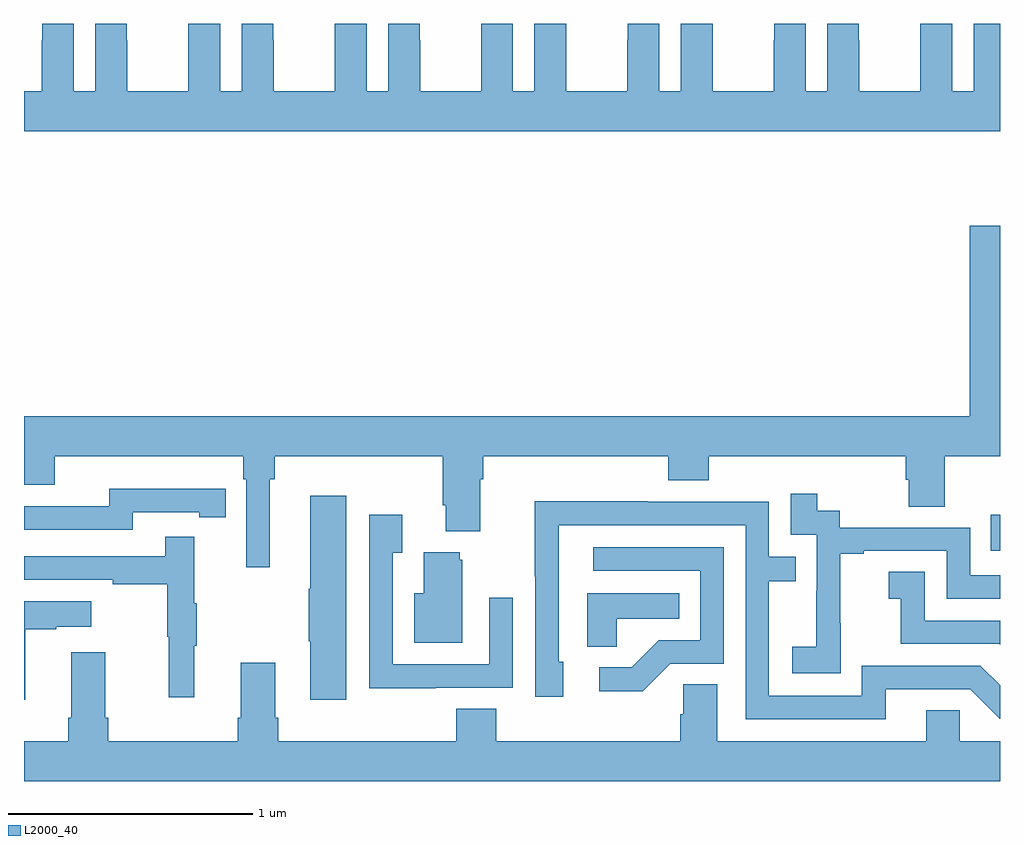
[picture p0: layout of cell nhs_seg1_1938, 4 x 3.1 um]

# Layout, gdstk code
import gdstk
lib = gdstk.Library(unit=1e-6, precision=1e-09)
def R(c, l, rs):  # rectangles x0, y0, x1, y1
    for r in rs: c.add(gdstk.rectangle(r[:2], r[2:], *l))
def P(c, l, *ps):  # polygons
    for p in ps: c.add(gdstk.Polygon(p, *l))
L2000_40 = (2000, 40)

nhs_seg1_1938 = lib.new_cell('nhs_seg1_1938')
R(nhs_seg1_1938, L2000_40, [(220.963,522.039,221,522.187)])
P(nhs_seg1_1938, L2000_40, [(221,524.199),(220.892,524.199),(220.892,523.924),(220.804,523.924),(220.804,524.199),(220.674,524.199),(220.674,524.132),(220.673,524.132),(220.673,523.924),(220.423,523.924),(220.423,524.132),(220.422,524.132),(220.422,524.199),(220.292,524.199),(220.292,523.924),(220.204,523.924),(220.204,524.199),(220.074,524.199),(220.074,524.132),(220.073,524.132),(220.073,523.924),(219.823,523.924),(219.823,524.132),(219.822,524.132),(219.822,524.199),(219.692,524.199),(219.692,523.924),(219.604,523.924),(219.604,524.199),(219.474,524.199),(219.474,524.132),(219.473,524.132),(219.473,523.924),(219.223,523.924),(219.223,524.132),(219.222,524.132),(219.222,524.199),(219.092,524.199),(219.092,523.924),(219.004,523.924),(219.004,524.199),(218.874,524.199),(218.874,524.132),(218.873,524.132),(218.873,523.924),(218.623,523.924),(218.623,524.132),(218.622,524.132),(218.622,524.199),(218.492,524.199),(218.492,523.924),(218.404,523.924),(218.404,524.199),(218.274,524.199),(218.274,524.132),(218.273,524.132),(218.273,523.924),(218.023,523.924),(218.023,524.132),(218.022,524.132),(218.022,524.199),(217.892,524.199),(217.892,523.924),(217.804,523.924),(217.804,524.199),(217.674,524.199),(217.674,524.132),(217.673,524.132),(217.673,523.924),(217.423,523.924),(217.423,524.132),(217.422,524.132),(217.422,524.199),(217.292,524.199),(217.292,523.924),(217.204,523.924),(217.204,524.199),(217.074,524.199),(217.074,524.132),(217.073,524.132),(217.073,523.924),(217,523.924),(217,523.76),(221,523.76)],
  [(218.008,522.332),(218.027,522.332),(218.027,522.428),(218.717,522.428),(218.717,522.226),(218.729,522.226),(218.729,522.119),(218.869,522.119),(218.869,522.332),(218.882,522.332),(218.882,522.428),(219.641,522.428),(219.641,522.329),(219.806,522.329),(219.806,522.428),(220.613,522.428),(220.613,522.33),(220.625,522.33),(220.625,522.22),(220.773,522.22),(220.773,522.428),(221,522.428),(221,523.371),(220.877,523.371),(220.877,522.592),(217,522.592),(217,522.311),(217.126,522.311),(217.126,522.428),(217.898,522.428),(217.898,522.332),(217.911,522.332),(217.911,521.973),(218.008,521.973)],
  [(217.446,522.198),(217.718,522.198),(217.718,522.178),(217.826,522.178),(217.826,522.294),(217.718,522.294),(217.718,522.295),(217.35,522.295),(217.35,522.222),(217,522.222),(217,522.126),(217.446,522.126)],
  [(220.347,521.743),(220.346,521.743),(220.346,522.027),(220.441,522.027),(220.441,522.039),(220.782,522.039),(220.782,521.844),(221,521.844),(221,521.94),(220.878,521.94),(220.878,522.135),(220.344,522.135),(220.344,522.204),(220.252,522.204),(220.252,522.274),(220.143,522.274),(220.143,522.105),(220.248,522.105),(220.248,521.876),(220.247,521.876),(220.247,521.647),(220.149,521.647),(220.149,521.537),(220.347,521.537)],
  [(218.32,522.265),(218.174,522.265),(218.174,521.885),(218.167,521.885),(218.167,521.668),(218.174,521.668),(218.174,521.43),(218.32,521.43)],
  [(220.531,521.472),(220.878,521.472),(220.998,521.352),(221,521.352),(221,521.488),(220.92,521.568),(220.434,521.568),(220.434,521.445),(220.053,521.445),(220.053,521.914),(220.163,521.914),(220.163,522.015),(220.053,522.015),(220.053,522.24),(219.557,522.24),(219.557,522.242),(219.094,522.242),(219.094,521.935),(219.096,521.935),(219.096,521.442),(219.211,521.442),(219.211,521.586),(219.192,521.586),(219.192,522.144),(219.957,522.144),(219.957,521.349),(220.531,521.349)],
  [(218.687,521.478),(219.003,521.478),(219.003,521.847),(218.907,521.847),(218.907,521.574),(218.511,521.574),(218.511,522.031),(218.551,522.031),(218.551,522.187),(218.415,522.187),(218.415,521.477),(218.687,521.477)],
  [(217.697,521.651),(217.708,521.651),(217.708,521.825),(217.697,521.825),(217.697,522.097),(217.579,522.097),(217.579,522.018),(217,522.018),(217,521.922),(217.363,521.922),(217.363,521.902),(217.587,521.902),(217.587,521.688),(217.594,521.688),(217.594,521.439),(217.697,521.439)],
  [(219.648,521.577),(219.867,521.577),(219.867,522.054),(219.333,522.054),(219.333,521.958),(219.771,521.958),(219.771,521.673),(219.602,521.673),(219.491,521.562),(219.357,521.562),(219.357,521.465),(219.535,521.465)],
  [(218.797,522.003),(218.786,522.003),(218.786,522.034),(218.639,522.034),(218.639,521.866),(218.6,521.866),(218.6,521.663),(218.797,521.663)],
  [(221,521.754),(220.692,521.754),(220.692,521.953),(220.545,521.953),(220.545,521.843),(220.594,521.843),(220.594,521.658),(220.997,521.658),(221,521.655)],
  [(219.429,521.762),(219.686,521.762),(219.686,521.866),(219.308,521.866),(219.308,521.647),(219.429,521.647)],
  [(217.006,521.719),(217.133,521.719),(217.133,521.729),(217.276,521.729),(217.276,521.833),(217,521.833),(217,521.43),(217.006,521.43)],
  [(221,521.26),(220.836,521.26),(220.836,521.387),(220.697,521.387),(220.697,521.26),(219.841,521.26),(219.841,521.492),(219.702,521.492),(219.702,521.369),(219.689,521.369),(219.689,521.26),(218.936,521.26),(218.936,521.393),(218.771,521.393),(218.771,521.26),(218.042,521.26),(218.042,521.356),(218.029,521.356),(218.029,521.581),(217.889,521.581),(217.889,521.356),(217.877,521.356),(217.877,521.26),(217.346,521.26),(217.346,521.356),(217.333,521.356),(217.333,521.623),(217.193,521.623),(217.193,521.356),(217.181,521.356),(217.181,521.26),(217,521.26),(217,521.096),(221,521.096)])

lib.write_gds('nhs_seg1_1938.gds')
